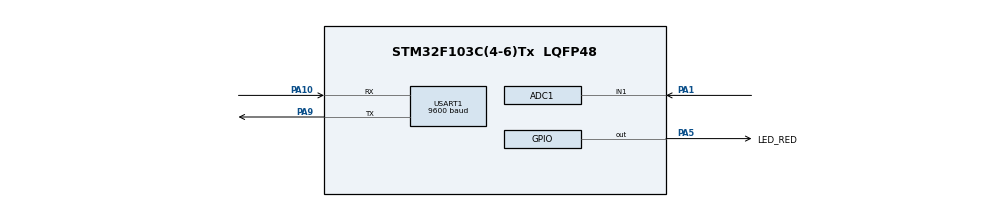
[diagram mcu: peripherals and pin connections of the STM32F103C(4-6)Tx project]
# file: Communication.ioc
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ADC1.Channel-0\#ChannelRegularConversion=ADC_CHANNEL_1
ADC1.ContinuousConvMode=ENABLE
ADC1.NbrOfConversionFlag=1
ADC1.Rank-0\#ChannelRegularConversion=1
ADC1.SamplingTime-0\#ChannelRegularConversion=ADC_SAMPLETIME_1CYCLE_5
ADC1.master=1
Mcu.Family=STM32F1
Mcu.Name=STM32F103C(4-6)Tx
Mcu.Package=LQFP48
NVIC.PriorityGroup=NVIC_PRIORITYGROUP_4
NVIC.TIM2_IRQn=true\:0\:0\:false\:false\:true\:true\:true\:true
NVIC.USART1_IRQn=true\:0\:0\:false\:false\:true\:true\:true\:true
PA1.Signal=ADCx_IN1
PA10.Mode=Asynchronous
PA10.Signal=USART1_RX
PA5.GPIO_Label=LED_RED
PA5.Signal=GPIO_Output
PA9.Mode=Asynchronous
PA9.Signal=USART1_TX
ProjectManager.HeapSize=0x200
ProjectManager.StackSize=0x400
ProjectManager.TargetToolchain=STM32CubeIDE
RCC.APB1Freq_Value=8000000
RCC.APB2Freq_Value=8000000
SH.ADCx_IN1.0=ADC1_IN1,IN1
TIM2.Period=9
TIM2.Prescaler=7999
USART1.BaudRate=9600
USART1.VirtualMode=VM_ASYNC
VP_SYS_VS_ND.Mode=No_Debug
VP_TIM2_VS_ClockSourceINT.Mode=Internal
board=custom

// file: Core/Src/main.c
/* USER CODE BEGIN Header */
/**
  ******************************************************************************
  * @file           : main.c
  * @brief          : Main program body
  ******************************************************************************
  * @attention
  *
  * Copyright (c) 2024 STMicroelectronics.
  * All rights reserved.
  *
  * This software is licensed under terms that can be found in the LICENSE file
  * in the root directory of this software component.
  * If no LICENSE file comes with this software, it is provided AS-IS.
  *
  ******************************************************************************
  */
/* USER CODE END Header */
#include "main.h"

/* USER CODE BEGIN Includes */
#include <stdint.h>
#include <stdio.h>
#include "voltage_sensor.h"
#include "scheduler.h"
#include "uart.h"
/* USER CODE END Includes */

ADC_HandleTypeDef hadc1;

TIM_HandleTypeDef htim2;

UART_HandleTypeDef huart1;

void SystemClock_Config(void);
static void MX_GPIO_Init(void);
static void MX_ADC1_Init(void);
static void MX_TIM2_Init(void);
static void MX_USART1_UART_Init(void);

/* USER CODE BEGIN 0 */
void led_blink(void) {
	HAL_GPIO_TogglePin(LED_RED_GPIO_Port, LED_RED_Pin);
}
/* USER CODE END 0 */

int main(void)
{

  /* MCU Configuration--------------------------------------------------------*/

  /* Reset of all peripherals, Initializes the Flash interface and the Systick. */
  HAL_Init();

  /* Configure the system clock */
  SystemClock_Config();

  /* Initialize all configured peripherals */
  MX_GPIO_Init();
  MX_ADC1_Init();
  MX_TIM2_Init();
  MX_USART1_UART_Init();
  /* USER CODE BEGIN 2 */
	HAL_UART_Receive_IT(&huart1, &uartChar, 1);
	HAL_ADC_Start(&hadc1);
	HAL_TIM_Base_Start_IT(&htim2);
	SCH_Init();
  /* USER CODE END 2 */

  /* Infinite loop */
  /* USER CODE BEGIN WHILE */
	SCH_AddTask(led_blink, 0, 1000);
	SCH_AddTask(uartRead, 0, SCH_TIMERTICK);
//	uint32_t ADC_value = 0;
//	char uartMessage[100];
  while (1)
  {
	  SCH_Dispatch();
//	  HAL_GPIO_TogglePin(LED_RED_GPIO_Port, LED_RED_Pin);
//
//	  HAL_ADC_PollForConversion(&hadc1, HAL_MAX_DELAY);
//	  ADC_value = HAL_ADC_GetValue(&hadc1);
//	  HAL_UART_Transmit(&huart1, (void*)uartMessage, sprintf(uartMessage, "\r\n!ADC=%ld#\r\n", ADC_value), 100);
//	  HAL_Delay(500);
    /* USER CODE END WHILE */

  }
}

void SystemClock_Config(void)
{
  RCC_OscInitTypeDef RCC_OscInitStruct = {0};
  RCC_ClkInitTypeDef RCC_ClkInitStruct = {0};
  RCC_PeriphCLKInitTypeDef PeriphClkInit = {0};

  /** Initializes the RCC Oscillators according to the specified parameters
  * in the RCC_OscInitTypeDef structure.
  */
  RCC_OscInitStruct.OscillatorType = RCC_OSCILLATORTYPE_HSI;
  RCC_OscInitStruct.HSIState = RCC_HSI_ON;
  RCC_OscInitStruct.HSICalibrationValue = RCC_HSICALIBRATION_DEFAULT;
  RCC_OscInitStruct.PLL.PLLState = RCC_PLL_NONE;
  if (HAL_RCC_OscConfig(&RCC_OscInitStruct) != HAL_OK)
  {
    Error_Handler();
  }

  /** Initializes the CPU, AHB and APB buses clocks
  */
  RCC_ClkInitStruct.ClockType = RCC_CLOCKTYPE_HCLK|RCC_CLOCKTYPE_SYSCLK
                              |RCC_CLOCKTYPE_PCLK1|RCC_CLOCKTYPE_PCLK2;
  RCC_ClkInitStruct.SYSCLKSource = RCC_SYSCLKSOURCE_HSI;
  RCC_ClkInitStruct.AHBCLKDivider = RCC_SYSCLK_DIV1;
  RCC_ClkInitStruct.APB1CLKDivider = RCC_HCLK_DIV1;
  RCC_ClkInitStruct.APB2CLKDivider = RCC_HCLK_DIV1;

  if (HAL_RCC_ClockConfig(&RCC_ClkInitStruct, FLASH_LATENCY_0) != HAL_OK)
  {
    Error_Handler();
  }
  PeriphClkInit.PeriphClockSelection = RCC_PERIPHCLK_ADC;
  PeriphClkInit.AdcClockSelection = RCC_ADCPCLK2_DIV2;
  if (HAL_RCCEx_PeriphCLKConfig(&PeriphClkInit) != HAL_OK)
  {
    Error_Handler();
  }
}

static void MX_ADC1_Init(void)
{

  ADC_ChannelConfTypeDef sConfig = {0};

  /** Common config
  */
  hadc1.Instance = ADC1;
  hadc1.Init.ScanConvMode = ADC_SCAN_DISABLE;
  hadc1.Init.ContinuousConvMode = ENABLE;
  hadc1.Init.DiscontinuousConvMode = DISABLE;
  hadc1.Init.ExternalTrigConv = ADC_SOFTWARE_START;
  hadc1.Init.DataAlign = ADC_DATAALIGN_RIGHT;
  hadc1.Init.NbrOfConversion = 1;
  if (HAL_ADC_Init(&hadc1) != HAL_OK)
  {
    Error_Handler();
  }

  /** Configure Regular Channel
  */
  sConfig.Channel = ADC_CHANNEL_1;
  sConfig.Rank = ADC_REGULAR_RANK_1;
  sConfig.SamplingTime = ADC_SAMPLETIME_1CYCLE_5;
  if (HAL_ADC_ConfigChannel(&hadc1, &sConfig) != HAL_OK)
  {
    Error_Handler();
  }

}

static void MX_TIM2_Init(void)
{

  TIM_ClockConfigTypeDef sClockSourceConfig = {0};
  TIM_MasterConfigTypeDef sMasterConfig = {0};

  htim2.Instance = TIM2;
  htim2.Init.Prescaler = 7999;
  htim2.Init.CounterMode = TIM_COUNTERMODE_UP;
  htim2.Init.Period = 9;
  htim2.Init.ClockDivision = TIM_CLOCKDIVISION_DIV1;
  htim2.Init.AutoReloadPreload = TIM_AUTORELOAD_PRELOAD_DISABLE;
  if (HAL_TIM_Base_Init(&htim2) != HAL_OK)
  {
    Error_Handler();
  }
  sClockSourceConfig.ClockSource = TIM_CLOCKSOURCE_INTERNAL;
  if (HAL_TIM_ConfigClockSource(&htim2, &sClockSourceConfig) != HAL_OK)
  {
    Error_Handler();
  }
  sMasterConfig.MasterOutputTrigger = TIM_TRGO_RESET;
  sMasterConfig.MasterSlaveMode = TIM_MASTERSLAVEMODE_DISABLE;
  if (HAL_TIMEx_MasterConfigSynchronization(&htim2, &sMasterConfig) != HAL_OK)
  {
    Error_Handler();
  }

}

static void MX_USART1_UART_Init(void)
{

  huart1.Instance = USART1;
  huart1.Init.BaudRate = 9600;
  huart1.Init.WordLength = UART_WORDLENGTH_8B;
  huart1.Init.StopBits = UART_STOPBITS_1;
  huart1.Init.Parity = UART_PARITY_NONE;
  huart1.Init.Mode = UART_MODE_TX_RX;
  huart1.Init.HwFlowCtl = UART_HWCONTROL_NONE;
  huart1.Init.OverSampling = UART_OVERSAMPLING_16;
  if (HAL_UART_Init(&huart1) != HAL_OK)
  {
    Error_Handler();
  }

}

static void MX_GPIO_Init(void)
{
  GPIO_InitTypeDef GPIO_InitStruct = {0};

  /* GPIO Ports Clock Enable */
  __HAL_RCC_GPIOA_CLK_ENABLE();

  /*Configure GPIO pin Output Level */
  HAL_GPIO_WritePin(LED_RED_GPIO_Port, LED_RED_Pin, GPIO_PIN_RESET);

  /*Configure GPIO pin : LED_RED_Pin */
  GPIO_InitStruct.Pin = LED_RED_Pin;
  GPIO_InitStruct.Mode = GPIO_MODE_OUTPUT_PP;
  GPIO_InitStruct.Pull = GPIO_NOPULL;
  GPIO_InitStruct.Speed = GPIO_SPEED_FREQ_LOW;
  HAL_GPIO_Init(LED_RED_GPIO_Port, &GPIO_InitStruct);

}

/* USER CODE BEGIN 4 */
void HAL_TIM_PeriodElapsedCallback(TIM_HandleTypeDef *htim) {
	if (htim->Instance == TIM2) {
		SCH_Update();
	}
}
/* USER CODE END 4 */

void Error_Handler(void)
{
  __disable_irq();
  while (1)
  {
  }
}
